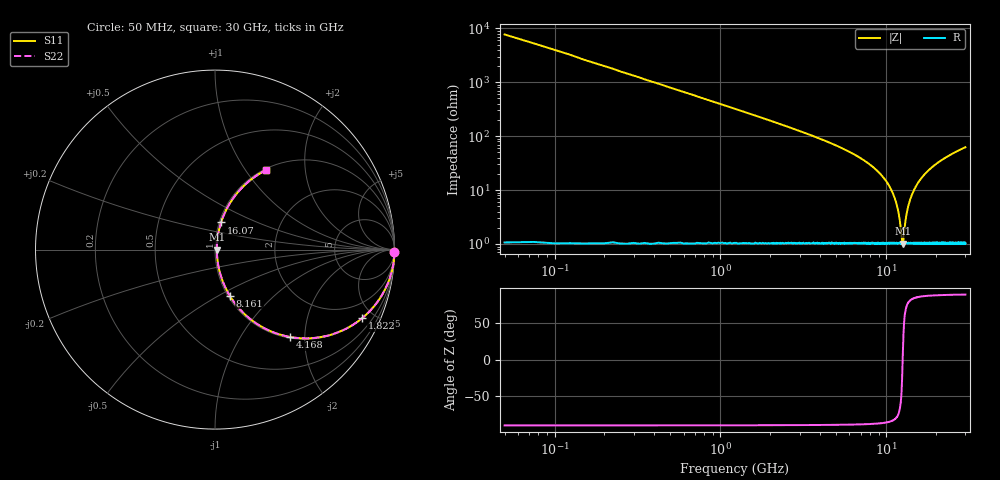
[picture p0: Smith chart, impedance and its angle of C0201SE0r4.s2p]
!	AVX Thin Film Operation 	Date: April 2014
!	Description: Accu-P® Series, Thin Film  SMD RF Capacitor
!	Part Number: 02011J0R4ZBSTR
# MHZ S MA R 50
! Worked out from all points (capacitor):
!   1201 points, 50 MHz to 30 GHz, reference 50 ohm
!   read as one part in series: C = 400 fF near 199.8 MHz
!   lowest |Z| = 1.01 ohm at 12.55 GHz (marker M1)
!   series resonance near 12.56 GHz, so ESL is about 400 pH
!   S11 on the Smith chart (normalised r, x): 50 MHz: open; 1.822 GHz: 1.02, -4.27; 4.168 GHz: 1.02, -1.70; 8.161 GHz: 1.02, -0.56; 16.07 GHz: 1.02, +0.32; 30 GHz: 1.02, +1.25
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50  1 -0.7  0.013 89.3  0.013 89.3  1 -0.7
299.583  0.997 -4.3  0.075 85.6  0.075 85.6  0.997 -4.3
599.083  0.989 -8.6  0.149 81.3  0.149 81.3  0.989 -8.6
1098.25  0.963 -15.5  0.268 74.3  0.268 74.3  0.963 -15.5
1822.042  0.904 -25.0  0.423 64.7  0.423 64.7  0.904 -25.0
2895.25  0.79 -37.4  0.607 52.2  0.607 52.2  0.79 -37.4
4168.125  0.644 -49.2  0.758 40.1  0.758 40.1  0.644 -49.2
5041.667  0.548 -55.9  0.828 33.2  0.828 33.2  0.548 -55.9
8161.458  0.269 -72.3  0.953 15.6  0.953 15.6  0.269 -72.3
10058.29  0.139 -77.8  0.98 8.0  0.98 8.0  0.139 -77.8
11530.83  0.054 -76.1  0.988 3.1  0.988 3.1  0.054 -76.1
11955.12  0.033 -69.8  0.989 1.8  0.989 1.8  0.033 -69.8
12429.33  0.012 -31.8  0.99 0.4  0.99 0.4  0.012 -31.8
12554.12  0.01 -1.1  0.99 0.0  0.99 0.0  0.01 -1.1
12678.92  0.012 29.9  0.99 -0.3  0.99 -0.3  0.012 29.9
13178.08  0.032 69.5  0.989 -1.7  0.989 -1.7  0.032 69.5
13577.42  0.05 75.3  0.989 -2.8  0.989 -2.8  0.05 75.3
15025  0.113 78.4  0.983 -6.5  0.983 -6.5  0.113 78.4
16073.25  0.155 77.4  0.978 -8.9  0.978 -8.9  0.155 77.4
20016.67  0.29 71.2  0.947 -16.9  0.947 -16.9  0.29 71.2
25033.29  0.424 63.7  0.896 -25.1  0.896 -25.1  0.424 63.7
30000  0.526 57.3  0.842 -31.7  0.842 -31.7  0.526 57.3
